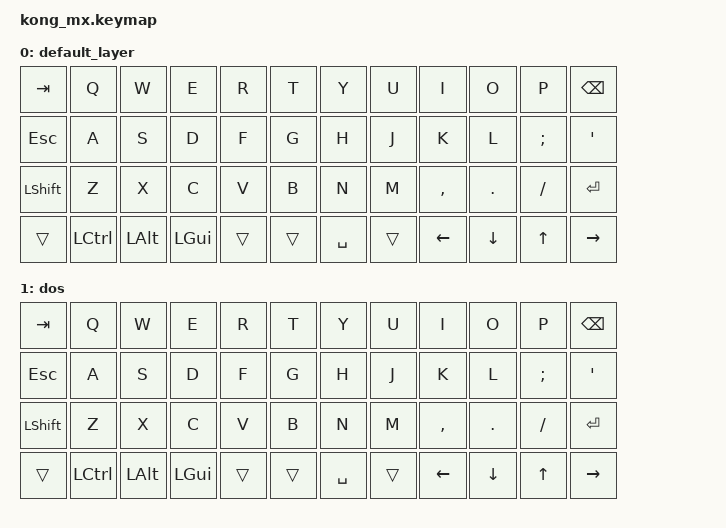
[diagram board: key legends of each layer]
/*
 * Copyright (c) 2020 The ZMK Contributors
 *
 * SPDX-License-Identifier: MIT
 */

#include <behaviors.dtsi>
#include <dt-bindings/zmk/keys.h>

/ {
	keymap {
		compatible = "zmk,keymap";

		default_layer {
			// -----------------------------------------------------------------------------------------
			// |  TAB  |  Q   |  W   |  E   |  R   |  T   |   Y   |  U    |  I   |  O   |   P   | BSPC  |
			// |  ESC  |  A   |  S   |  D   |  F   |  G   |   H   |  J    |  K   |  L   |   ;   |  '    |
			// | SHIFT |  Z   |  X   |  C   |  V   |  B   |   N   |  M    |  ,   |  .   |   /   |  RET  |
			// |       | LCTL | LALT | LGUI | LOWR |     SPACE    |  RAIS | LARW | DARW | UARW  |  RARW |
			bindings = <
				&kp TAB  &kp Q    &kp W &kp E &kp R &kp T  &kp Y   &kp U  &kp I    &kp O   &kp P    &kp BSPC
				&kp ESC  &kp A    &kp S &kp D &kp F &kp G  &kp H   &kp J  &kp K    &kp L   &kp SEMI &kp SQT
				&kp LSHFT &kp Z    &kp X &kp C &kp V &kp B  &kp N   &kp M  &kp COMMA &kp DOT &kp SLASH &kp RET
				&trans   &kp LCTL &kp LALT &kp LGUI &trans  &trans &kp SPACE &trans &kp LEFT &kp DOWN &kp UP &kp RIGHT
			>;
		};


		dos {
			// -----------------------------------------------------------------------------------------
			// |  TAB  |  Q   |  W   |  E   |  R   |  T   |   Y   |  U    |  I   |  O   |   P   | BSPC  |
			// |  ESC  |  A   |  S   |  D   |  F   |  G   |   H   |  J    |  K   |  L   |   ;   |  '    |
			// | SHIFT |  Z   |  X   |  C   |  V   |  B   |   N   |  M    |  ,   |  .   |   /   |  RET  |
			// |       | LCTL | LALT | LGUI | LOWR |     SPACE    |  RAIS | LARW | DARW | UARW  |  RARW |
			bindings = <
				&kp TAB  &kp Q    &kp W &kp E &kp R &kp T  &kp Y   &kp U  &kp I    &kp O   &kp P    &kp BSPC
				&kp ESC  &kp A    &kp S &kp D &kp F &kp G  &kp H   &kp J  &kp K    &kp L   &kp SEMI &kp SQT
				&kp LSHFT &kp Z    &kp X &kp C &kp V &kp B  &kp N   &kp M  &kp COMMA &kp DOT &kp SLASH &kp RET
				&trans   &kp LCTL &kp LALT &kp LGUI &trans  &trans &kp SPACE &trans &kp LEFT &kp DOWN &kp UP &kp RIGHT
			>;
		};

	};
};
